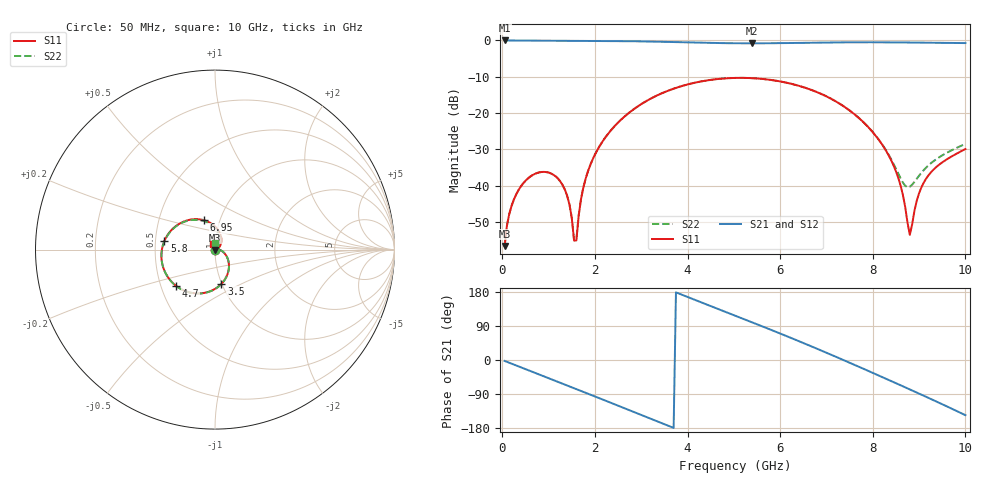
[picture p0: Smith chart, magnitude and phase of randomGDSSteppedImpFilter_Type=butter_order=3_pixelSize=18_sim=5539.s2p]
! freq	dB(S11)	phase(S11)	dB(S12)	phase(S12)
!  dB(S21)	phase(S21)	dB(S22)	phase(S22)
!S-par simulation data
#  GHz  S  DB  R 50
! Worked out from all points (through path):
!   200 points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, 50 MHz to 10 GHz, reference 50 ohm
!   highest |S21| = 0.00 dB at 50 MHz (marker M1); lowest = -0.8 dB at 5.4 GHz (marker M2)
!   group delay of S21, straight-line fit = 139 ps
!   lowest |S11| = -56.6 dB at 50 MHz (marker M3), VSWR 1.00, Z = 50 - j0.148 ohm
!   |S11| at or under -10 dB: start of sweep to end of sweep
!   |S22| runs from -56.7 to -10.3 dB; largest |S21 - S12| = 0
!   S11 on the Smith chart (normalised r, x): 50 MHz: 1.00, -0.00; 3.5 GHz: 1.00, -0.39; 4.7 GHz: 0.60, -0.27; 5.8 GHz: 0.56, +0.06; 6.95 GHz: 0.84, +0.28; 10 GHz: 0.98, +0.06
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0.05  -56.60 -86.6  -0.00 -2.4  -0.00 -2.4  -56.67 -87.1
0.25  -43.83 -99.1  -0.02 -12.1  -0.02 -12.1  -43.83 -99.1
0.6  -37.54 -119.5  -0.04 -28.8  -0.04 -28.8  -37.54 -119.5
1.25  -38.79 -154.9  -0.07 -60.0  -0.07 -60.0  -38.79 -155.1
1.45  -45.18 -171.8  -0.08 -69.6  -0.08 -69.6  -45.17 -172.5
1.55  -55.15 150.9  -0.08 -74.4  -0.08 -74.4  -54.88 148.7
1.75  -40.54 14.0  -0.09 -84.1  -0.09 -84.1  -40.51 14.7
2.3  -25.47 -19.4  -0.14 -110.7  -0.14 -110.7  -25.46 -19.2
3.4  -14.81 -74.4  -0.36 -164.5  -0.36 -164.5  -14.80 -74.1
3.5  -14.25 -79.3  -0.39 -169.4  -0.39 -169.4  -14.25 -79.0
4.7  -10.57 -137.0  -0.73 132.7  -0.73 132.7  -10.57 -136.5
5.05  -10.32 -153.7  -0.78 116.0  -0.78 116.0  -10.31 -153.2
5.4  -10.39 -170.5  -0.79 99.2  -0.79 99.2  -10.39 -169.8
5.8  -10.88 170.1  -0.77 79.8  -0.77 79.8  -10.87 170.9
6.7  -13.75 124.4  -0.62 34.7  -0.62 34.7  -13.74 126.2
6.95  -15.10 110.9  -0.57 21.8  -0.57 21.8  -15.09 113.4
7.65  -20.82 71.4  -0.50 -15.2  -0.50 -15.2  -20.80 77.3
8.35  -31.83 27.1  -0.52 -53.0  -0.52 -53.0  -31.63 51.4
8.6  -39.95 4.5  -0.55 -66.6  -0.55 -66.6  -37.97 63.7
8.8  -53.55 -84.5  -0.57 -77.6  -0.57 -77.6  -40.29 103.1
9.15  -38.11 170.3  -0.61 -97.0  -0.61 -97.0  -35.06 126.9
10  -29.91 105.9  -0.73 -145.6  -0.73 -145.6  -28.49 87.7
